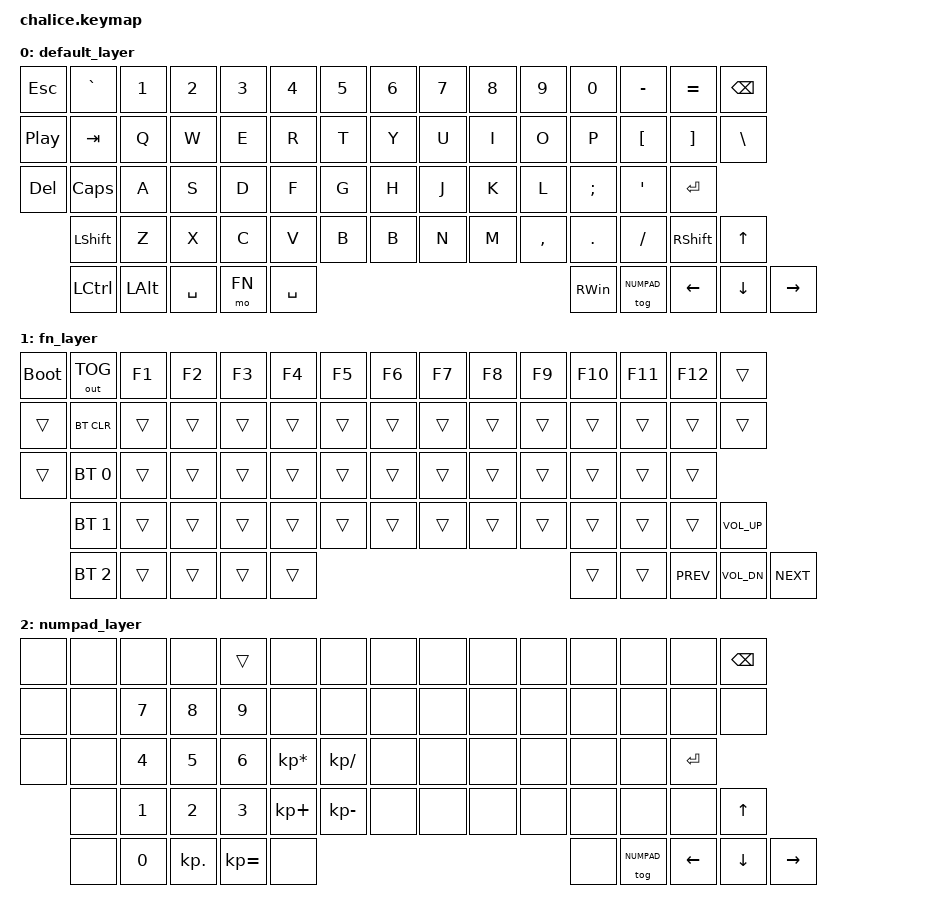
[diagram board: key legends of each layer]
/*
 * Copyright (c) 2020 The ZMK Contributors
 * SPDX-License-Identifier: MIT
 */

#include <behaviors.dtsi>
#include <dt-bindings/zmk/keys.h>
#include <dt-bindings/zmk/bt.h>
#include <dt-bindings/zmk/rgb.h>
#include <dt-bindings/zmk/outputs.h>

#define DEFAULT 0
#define FN 1
#define NUMPAD 2

/ {
        keymap {
                compatible = "zmk,keymap";

                default_layer {

                        bindings = <
   &kp ESC         &kp GRAVE   &kp N1       &kp N2       &kp N3       &kp N4       &kp N5       &kp N6       &kp N7       &kp N8       &kp N9       &kp N0       &kp MINUS    &kp EQUAL    &kp BSPC
   &kp C_PP        &kp TAB     &kp Q        &kp W        &kp E        &kp R        &kp T        &kp Y        &kp U        &kp I        &kp O        &kp P        &kp LBKT     &kp RBKT     &kp BSLH
   &kp DEL         &kp CAPS    &kp A        &kp S        &kp D        &kp F        &kp G        &kp H        &kp J        &kp K        &kp L        &kp SEMI     &kp SQT      &kp ENTER                    
                   &kp LSHFT   &kp Z        &kp X        &kp C        &kp V        &kp B        &kp B        &kp N        &kp M        &kp COMMA    &kp DOT      &kp SLASH    &kp RSHFT    &kp UP
                   &kp LCTRL                &kp LALT                  &kp SPACE    &mo FN                    &kp SPACE                 &kp RWIN                  &tog NUMPAD  &kp LEFT     &kp DOWN     &kp RIGHT 
                                >;
                        };

                fn_layer {

                        bindings = <
   &bootloader     &out OUT_TOG  &kp F1     &kp F2       &kp F3       &kp F4       &kp F5       &kp F6       &kp F7       &kp F8       &kp F9       &kp F10      &kp F11      &kp F12      &trans
   &trans          &bt BT_CLR    &trans     &trans       &trans       &trans       &trans       &trans       &trans       &trans       &trans       &trans       &trans       &trans       &trans
   &trans          &bt BT_SEL 0  &trans     &trans       &trans       &trans       &trans       &trans       &trans       &trans       &trans       &trans       &trans       &trans 
                   &bt BT_SEL 1  &trans     &trans       &trans       &trans       &trans       &trans       &trans       &trans       &trans       &trans       &trans       &trans       &kp C_VOL_UP
                   &bt BT_SEL 2             &trans                    &trans       &trans                    &trans                    &trans                    &trans       &kp C_PREV   &kp C_VOL_DN    &kp C_NEXT 
                                >;
                        };

                numpad_layer {

                        bindings = <
   &none           &none     &none      &none        &trans       &none             &none            &none       &none       &none       &none       &none       &none        &none       &kp BSPC
   &none           &none     &kp N7     &kp N8       &kp N9       &none             &none            &none       &none       &none       &none       &none       &none        &none       &none
   &none           &none     &kp N4     &kp N5       &kp N6       &kp KP_MULTIPLY   &kp KP_DIVIDE    &none       &none       &none       &none       &none       &none        &kp ENTER 
                   &none     &kp N1     &kp N2       &kp N3       &kp KP_PLUS       &kp KP_MINUS     &none       &none       &none       &none       &none       &none        &none       &kp UP
                   &none                &kp N0       &kp KP_DOT                     &kp KP_EQUAL     &none                               &none                   &tog NUMPAD  &kp LEFT    &kp DOWN    &kp RIGHT 
                                >;
                        };
        };
};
